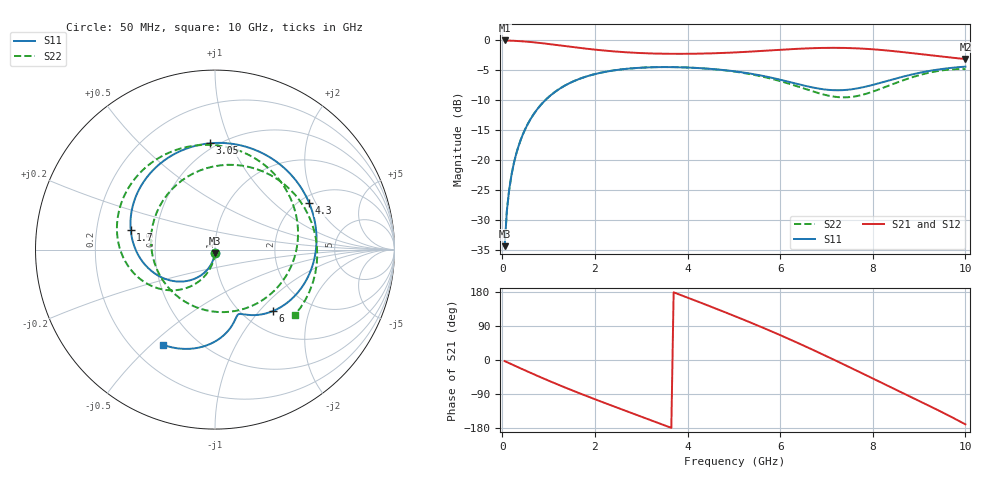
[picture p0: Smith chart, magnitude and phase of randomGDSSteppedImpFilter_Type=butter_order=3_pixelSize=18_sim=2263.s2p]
! freq	dB(S11)	phase(S11)	dB(S12)	phase(S12)
!  dB(S21)	phase(S21)	dB(S22)	phase(S22)
!S-par simulation data
#  GHz  S  DB  R 50
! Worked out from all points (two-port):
!   200 points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, 50 MHz to 10 GHz, reference 50 ohm
!   highest |S21| = 0.00 dB at 50 MHz (marker M1); lowest = -3.1 dB at 10 GHz (marker M2)
!   |S21| within 3 dB of the highest: start of sweep to 9.863 GHz
!   lowest |S11| = -34.4 dB at 50 MHz (marker M3), VSWR 1.04, Z = 49.9 - j1.9 ohm
!   |S11| at or under -10 dB: start of sweep to 927.8 MHz
!   |S22| runs from -34.4 to -4.4 dB; largest |S21 - S12| = 0
!   S11 on the Smith chart (normalised r, x): 50 MHz: 1.00, -0.04; 1.7 GHz: 0.35, +0.10; 3.05 GHz: 0.46, +0.84; 4.3 GHz: 2.24, +1.77; 6 GHz: 1.34, -1.18; 10 GHz: 0.33, -0.55
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0.05  -34.40 -93.2  -0.00 -2.8  -0.00 -2.8  -34.39 -92.4
0.1  -28.39 -96.5  -0.01 -5.7  -0.01 -5.7  -28.38 -95.0
0.2  -22.42 -103.1  -0.04 -11.3  -0.04 -11.3  -22.42 -100.1
0.5  -14.75 -122.2  -0.19 -27.9  -0.19 -27.9  -14.74 -114.7
1.1  -8.83 -158.6  -0.69 -59.7  -0.69 -59.7  -8.82 -142.0
1.7  -6.33 166.8  -1.27 -89.4  -1.27 -89.4  -6.32 -166.8
1.75  -6.20 164.0  -1.32 -91.7  -1.32 -91.7  -6.19 -168.7
2.35  -5.08 130.9  -1.79 -119.8  -1.79 -119.8  -5.07 168.5
3.05  -4.54 92.7  -2.13 -151.7  -2.13 -151.7  -4.54 143.0
3.4  -4.46 73.7  -2.21 -167.6  -2.21 -167.6  -4.45 130.1
4.3  -4.65 26.3  -2.20 150.5  -2.20 150.5  -4.65 94.7
5.05  -5.20 -9.8  -2.00 114.4  -2.00 114.4  -5.25 59.8
6  -6.56 -47.0  -1.57 65.7  -1.57 65.7  -6.80 2.1
6.7  -7.86 -63.8  -1.30 27.2  -1.30 27.2  -8.51 -56.3
7.15  -8.32 -69.0  -1.24 1.4  -1.24 1.4  -9.38 -103.5
7.65  -8.04 -72.7  -1.32 -28.0  -1.32 -28.0  -9.32 -161.7
8  -7.43 -76.3  -1.48 -48.7  -1.48 -48.7  -8.56 158.2
8.35  -6.69 -81.5  -1.71 -69.4  -1.71 -69.4  -7.55 120.9
8.7  -5.96 -88.3  -2.00 -90.1  -2.00 -90.1  -6.55 86.2
9.05  -5.35 -96.1  -2.31 -110.8  -2.31 -110.8  -5.71 53.1
9.55  -4.71 -107.9  -2.75 -141.0  -2.75 -141.0  -4.95 6.2
10  -4.38 -118.5  -3.11 -169.9  -3.11 -169.9  -4.80 -39.5
